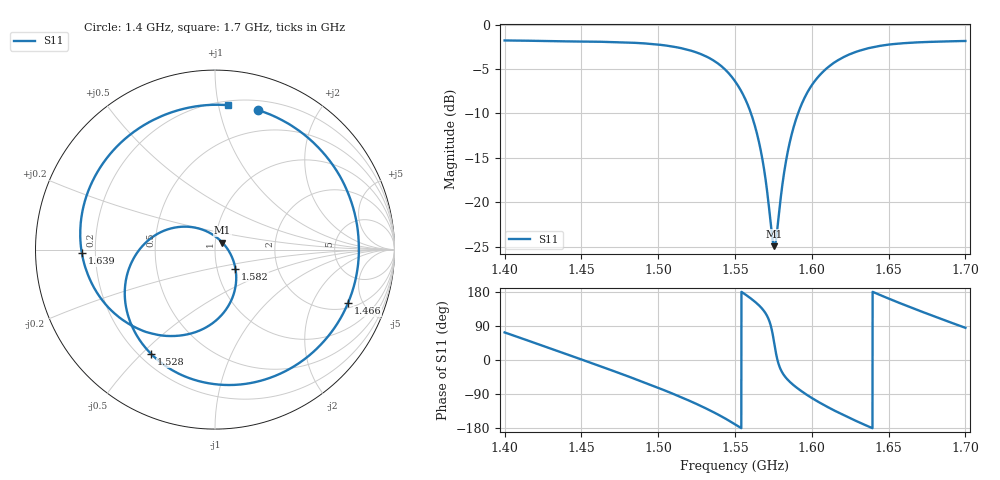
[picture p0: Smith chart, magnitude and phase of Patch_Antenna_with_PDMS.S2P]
!Keysight Technologies,E5063A,MY54503975,A.05.08
!Date: Thu Mar 06 04:40:21 2025
!Data & Calibration Information:
!Freq	S11:NONE(--)	S21:RESPT(ON)	S12:NONE(--)	S22:NONE(--)
# Hz S RI R 50
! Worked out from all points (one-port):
!   3001 points, 1.4 GHz to 1.7 GHz, reference 50 ohm
!   lowest |S11| = -24.9 dB at 1.576 GHz (marker M1), VSWR 1.12, Z = 54.2 + j4.22 ohm
!   |S11| at or under -10 dB: 1.56 GHz to 1.591 GHz (30.58 MHz wide, 1.94 % of centre)
!   S11 on the Smith chart (normalised r, x): 1.4 GHz: 0.29, +1.32; 1.466 GHz: 2.33, -3.83; 1.528 GHz: 0.25, -0.54; 1.582 GHz: 1.22, -0.27; 1.639 GHz: 0.15, -0.01; 1.7 GHz: 0.23, +1.07
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1.4e9  0.2412 0.7769  -0 -0  0 0  0 0
1.4275e9  0.6723 0.4478  0 -0  0 0  0 0
1.45e9  0.8014 0.0199  -0 0  0 0  0 0
1.466e9  0.7414 -0.2973  -0 0  0 0  0 0
1.4846e9  0.512 -0.6003  0 -0  0 0  0 0
1.5e9  0.2193 -0.7393  0 -0  0 0  0 0
1.5142e9  -0.0883 -0.7333  0 0  0 0  0 0
1.5278e9  -0.355 -0.5821  0 0  0 0  0 0
1.5397e9  -0.4922 -0.3375  0 -0  0 0  0 0
1.55e9  -0.4722 -0.0879  0 -0  0 0  0 0
1.5646e9  -0.202 0.126  0 0  0 0  0 0
1.5687e9  -0.1023 0.1206  0 0  0 0  0 0
1.5756e9  0.0415 0.0388  0 0  0 0  0 0
1.5824e9  0.1137 -0.1058  0 0  0 0  0 0
1.5897e9  0.0929 -0.2778  0 0  0 0  0 0
1.6e9  -0.081 -0.4489  0 -0  0 0  0 0
1.6167e9  -0.462 -0.4246  0 -0  0 0  0 0
1.6279e9  -0.652 -0.2488  -0 0  0 0  0 0
1.6387e9  -0.7423 -0.0186  -0 -0  0 0  0 0
1.65e9  -0.7338 0.2362  -0 -0  0 0  0 0
1.6759e9  -0.4107 0.6843  -0 -0  0 0  0 0
1.7e9  0.0719 0.8047  -0 -0  0 0  0 0
